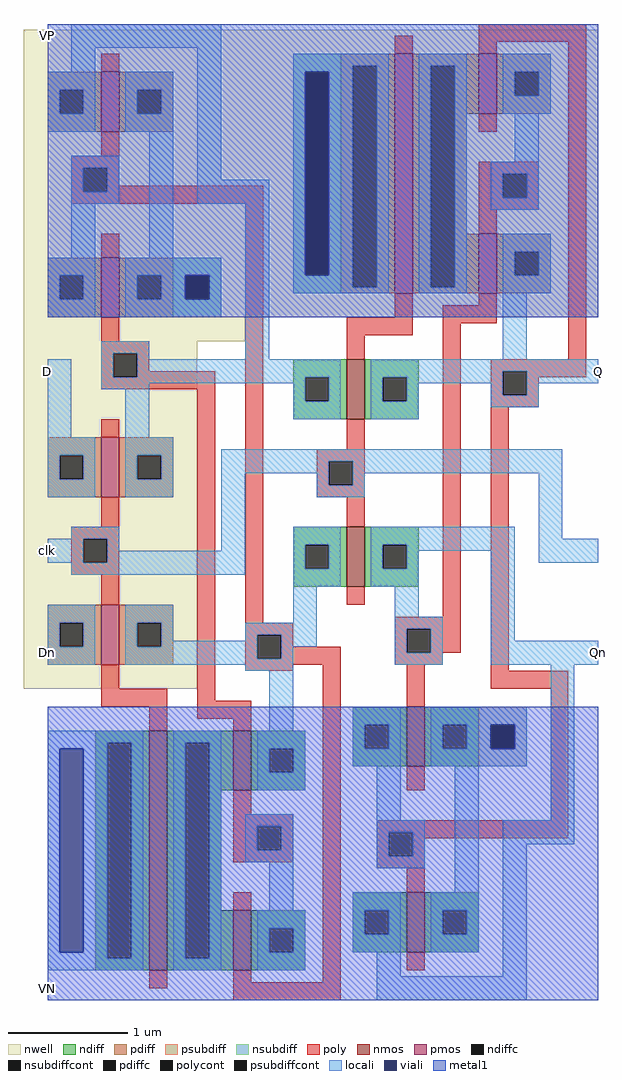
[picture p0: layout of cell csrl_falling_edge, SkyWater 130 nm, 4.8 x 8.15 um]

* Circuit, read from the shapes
.subckt csrl_falling_edge VP clk VN Q Qn D Dn
XM1 n1 clk VN VN sky130_fd_pr__nfet_01v8 w=2 l=0.15
XM2 n2 n3 n1 VN sky130_fd_pr__nfet_01v8 w=0.5 l=0.15
XM3 n3 n2 n1 VN sky130_fd_pr__nfet_01v8 w=0.5 l=0.15
XM4 Qn clk n3 VN sky130_fd_pr__nfet_01v8 w=0.5 l=0.15
XM5 Q clk n2 VN sky130_fd_pr__nfet_01v8 w=0.5 l=0.15
XM6 VN Q Qn VN sky130_fd_pr__nfet_01v8 w=0.5 l=0.15
XM7 VN Qn Q VN sky130_fd_pr__nfet_01v8 w=0.5 l=0.15
XM8 n3 clk Dn VP sky130_fd_pr__pfet_01v8 w=0.5 l=0.15
XM9 n2 clk D VP sky130_fd_pr__pfet_01v8 w=0.5 l=0.15
XM10 VP n2 n3 VP sky130_fd_pr__pfet_01v8 w=0.5 l=0.15
XM11 VP n3 n2 VP sky130_fd_pr__pfet_01v8 w=0.5 l=0.15
XM12 n4 clk VP VP sky130_fd_pr__pfet_01v8 w=2 l=0.15
XM13 Q Qn n4 VP sky130_fd_pr__pfet_01v8 w=0.5 l=0.15
XM14 Qn Q n4 VP sky130_fd_pr__pfet_01v8 w=0.5 l=0.15
.ends

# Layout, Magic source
magic
tech sky130A
<< nwell >>
rect 380 490 860 730
rect 380 470 565 490
rect 380 180 525 470
<< nmos >>
rect 650 405 665 455
rect 650 265 665 315
rect 485 -55 500 145
rect 555 95 570 145
rect 555 -55 570 -5
rect 700 115 715 165
rect 700 -40 715 10
<< pmos >>
rect 445 645 460 695
rect 445 490 460 540
rect 445 340 460 390
rect 445 200 460 250
rect 690 510 705 710
rect 760 660 775 710
rect 760 510 775 560
<< ndiff >>
rect 605 440 650 455
rect 605 420 615 440
rect 635 420 650 440
rect 605 405 650 420
rect 665 440 710 455
rect 665 420 680 440
rect 700 420 710 440
rect 665 405 710 420
rect 605 300 650 315
rect 605 280 615 300
rect 635 280 650 300
rect 605 265 650 280
rect 665 300 710 315
rect 665 280 680 300
rect 700 280 710 300
rect 665 265 710 280
rect 440 135 485 145
rect 440 -45 450 135
rect 470 -45 485 135
rect 440 -55 485 -45
rect 500 135 555 145
rect 500 -45 515 135
rect 535 95 555 135
rect 570 130 615 145
rect 570 110 585 130
rect 605 110 615 130
rect 570 95 615 110
rect 535 -5 545 95
rect 535 -45 555 -5
rect 500 -55 555 -45
rect 570 -20 615 -5
rect 570 -40 585 -20
rect 605 -40 615 -20
rect 570 -55 615 -40
rect 655 150 700 165
rect 655 130 665 150
rect 685 130 700 150
rect 655 115 700 130
rect 715 150 760 165
rect 715 130 730 150
rect 750 130 760 150
rect 715 115 760 130
rect 655 -5 700 10
rect 655 -25 665 -5
rect 685 -25 700 -5
rect 655 -40 700 -25
rect 715 -5 760 10
rect 715 -25 730 -5
rect 750 -25 760 -5
rect 715 -40 760 -25
<< pdiff >>
rect 645 700 690 710
rect 400 680 445 695
rect 400 660 410 680
rect 430 660 445 680
rect 400 645 445 660
rect 460 680 505 695
rect 460 660 475 680
rect 495 660 505 680
rect 460 645 505 660
rect 400 525 445 540
rect 400 505 410 525
rect 430 505 445 525
rect 400 490 445 505
rect 460 525 505 540
rect 460 505 475 525
rect 495 505 505 525
rect 460 490 505 505
rect 400 375 445 390
rect 400 355 410 375
rect 430 355 445 375
rect 400 340 445 355
rect 460 375 505 390
rect 460 355 475 375
rect 495 355 505 375
rect 460 340 505 355
rect 400 235 445 250
rect 400 215 410 235
rect 430 215 445 235
rect 400 200 445 215
rect 460 235 505 250
rect 460 215 475 235
rect 495 215 505 235
rect 460 200 505 215
rect 645 515 655 700
rect 675 515 690 700
rect 645 510 690 515
rect 705 700 760 710
rect 705 515 720 700
rect 740 660 760 700
rect 775 695 820 710
rect 775 675 790 695
rect 810 675 820 695
rect 775 660 820 675
rect 740 560 750 660
rect 740 515 760 560
rect 705 510 760 515
rect 775 545 820 560
rect 775 525 790 545
rect 810 525 820 545
rect 775 510 820 525
<< ndiffc >>
rect 615 420 635 440
rect 680 420 700 440
rect 615 280 635 300
rect 680 280 700 300
rect 450 -45 470 135
rect 515 -45 535 135
rect 585 110 605 130
rect 585 -40 605 -20
rect 665 130 685 150
rect 730 130 750 150
rect 665 -25 685 -5
rect 730 -25 750 -5
<< pdiffc >>
rect 410 660 430 680
rect 475 660 495 680
rect 410 505 430 525
rect 475 505 495 525
rect 410 355 430 375
rect 475 355 495 375
rect 410 215 430 235
rect 475 215 495 235
rect 655 515 675 700
rect 720 515 740 700
rect 790 675 810 695
rect 790 525 810 545
<< psubdiff >>
rect 760 150 800 165
rect 760 130 770 150
rect 790 130 800 150
rect 760 115 800 130
<< nsubdiff >>
rect 605 695 645 710
rect 505 525 545 540
rect 505 505 515 525
rect 535 505 545 525
rect 505 490 545 505
rect 605 525 615 695
rect 635 525 645 695
rect 605 510 645 525
<< psubdiffcont >>
rect 770 130 790 150
<< nsubdiffcont >>
rect 515 505 535 525
rect 615 525 635 695
<< poly >>
rect 690 710 705 725
rect 760 720 850 735
rect 760 710 775 720
rect 445 695 460 710
rect 445 625 460 645
rect 420 615 460 625
rect 420 595 430 615
rect 450 600 460 615
rect 450 595 580 600
rect 420 585 580 595
rect 445 540 460 560
rect 445 470 460 490
rect 445 460 485 470
rect 445 440 455 460
rect 475 445 485 460
rect 475 440 540 445
rect 445 430 540 440
rect 445 390 460 405
rect 445 315 460 340
rect 420 305 460 315
rect 420 285 430 305
rect 450 285 460 305
rect 420 275 460 285
rect 445 250 460 275
rect 445 180 460 200
rect 445 165 500 180
rect 485 145 500 165
rect 525 170 540 430
rect 565 235 580 585
rect 760 645 775 660
rect 760 610 810 620
rect 760 590 780 610
rect 800 590 810 610
rect 760 580 810 590
rect 760 560 775 580
rect 690 490 705 510
rect 760 500 775 510
rect 650 475 705 490
rect 730 485 775 500
rect 650 455 665 475
rect 650 380 665 405
rect 625 370 665 380
rect 625 350 635 370
rect 655 350 665 370
rect 625 340 665 350
rect 650 315 665 340
rect 650 250 665 265
rect 730 240 745 485
rect 835 455 850 720
rect 565 225 605 235
rect 565 205 575 225
rect 595 215 605 225
rect 690 230 745 240
rect 595 205 645 215
rect 565 200 645 205
rect 690 210 700 230
rect 720 210 745 230
rect 770 445 850 455
rect 770 425 780 445
rect 800 440 850 445
rect 800 425 810 440
rect 770 415 810 425
rect 690 200 730 210
rect 565 195 605 200
rect 525 155 570 170
rect 555 145 570 155
rect 555 75 570 95
rect 555 65 605 75
rect 555 45 575 65
rect 595 45 605 65
rect 555 35 605 45
rect 555 -5 570 10
rect 485 -70 500 -55
rect 555 -65 570 -55
rect 630 -65 645 200
rect 700 165 715 200
rect 770 195 785 415
rect 770 180 835 195
rect 700 95 715 115
rect 820 70 835 180
rect 675 60 835 70
rect 675 40 685 60
rect 705 55 835 60
rect 705 40 715 55
rect 675 30 715 40
rect 700 10 715 30
rect 700 -55 715 -40
rect 555 -80 645 -65
<< polycont >>
rect 430 595 450 615
rect 455 440 475 460
rect 430 285 450 305
rect 780 590 800 610
rect 635 350 655 370
rect 575 205 595 225
rect 700 210 720 230
rect 780 425 800 445
rect 575 45 595 65
rect 685 40 705 60
<< locali >>
rect 420 715 545 735
rect 420 695 440 715
rect 400 680 440 695
rect 400 660 410 680
rect 430 660 440 680
rect 400 645 440 660
rect 465 680 505 695
rect 465 660 475 680
rect 495 660 505 680
rect 465 645 505 660
rect 420 615 460 625
rect 420 595 430 615
rect 450 595 460 615
rect 420 585 460 595
rect 420 540 440 585
rect 485 540 505 645
rect 525 605 545 715
rect 605 700 685 710
rect 605 695 655 700
rect 525 585 585 605
rect 400 525 440 540
rect 400 505 410 525
rect 430 505 440 525
rect 400 490 440 505
rect 465 525 545 540
rect 465 505 475 525
rect 495 505 515 525
rect 535 505 545 525
rect 465 490 545 505
rect 445 460 485 470
rect 400 390 420 455
rect 445 440 455 460
rect 475 455 485 460
rect 565 455 585 585
rect 605 525 615 695
rect 635 525 655 695
rect 605 515 655 525
rect 675 515 685 700
rect 605 510 685 515
rect 710 700 750 710
rect 710 515 720 700
rect 740 515 750 700
rect 780 695 820 710
rect 780 675 790 695
rect 810 675 820 695
rect 780 660 820 675
rect 790 620 810 660
rect 770 610 810 620
rect 770 590 780 610
rect 800 590 810 610
rect 770 580 810 590
rect 710 510 750 515
rect 780 545 820 560
rect 780 525 790 545
rect 810 525 820 545
rect 780 510 820 525
rect 780 455 800 510
rect 475 440 645 455
rect 445 435 615 440
rect 445 430 485 435
rect 465 390 485 430
rect 605 420 615 435
rect 635 420 645 440
rect 605 405 645 420
rect 670 445 860 455
rect 670 440 780 445
rect 670 420 680 440
rect 700 435 780 440
rect 700 420 710 435
rect 670 405 710 420
rect 770 425 780 435
rect 800 435 860 445
rect 800 425 810 435
rect 770 415 810 425
rect 400 375 440 390
rect 400 355 410 375
rect 430 355 440 375
rect 400 340 440 355
rect 465 375 505 390
rect 465 355 475 375
rect 495 355 505 375
rect 465 340 505 355
rect 545 370 830 380
rect 545 360 635 370
rect 420 305 460 315
rect 400 285 430 305
rect 450 295 460 305
rect 545 295 565 360
rect 625 350 635 360
rect 655 360 830 370
rect 655 350 665 360
rect 625 340 665 350
rect 450 285 565 295
rect 420 275 565 285
rect 605 300 645 315
rect 605 280 615 300
rect 635 280 645 300
rect 605 265 645 280
rect 670 300 790 315
rect 670 280 680 300
rect 700 295 790 300
rect 700 280 710 295
rect 670 265 710 280
rect 400 235 440 250
rect 400 215 410 235
rect 430 215 440 235
rect 400 200 440 215
rect 465 235 505 250
rect 605 235 625 265
rect 465 215 475 235
rect 495 220 505 235
rect 565 225 625 235
rect 565 220 575 225
rect 495 215 575 220
rect 465 205 575 215
rect 595 215 625 225
rect 690 240 710 265
rect 690 230 730 240
rect 595 205 605 215
rect 465 200 605 205
rect 690 210 700 230
rect 720 210 730 230
rect 690 200 730 210
rect 770 220 790 295
rect 810 305 830 360
rect 810 285 860 305
rect 770 200 860 220
rect 565 195 605 200
rect 585 145 605 195
rect 655 150 695 165
rect 400 135 480 145
rect 400 130 450 135
rect 400 -40 410 130
rect 430 -40 450 130
rect 400 -45 450 -40
rect 470 -45 480 135
rect 400 -55 480 -45
rect 505 135 545 145
rect 505 -45 515 135
rect 535 -45 545 135
rect 575 130 615 145
rect 575 110 585 130
rect 605 110 615 130
rect 655 130 665 150
rect 685 130 695 150
rect 655 115 695 130
rect 720 150 800 165
rect 720 130 730 150
rect 750 130 770 150
rect 790 130 800 150
rect 720 115 800 130
rect 575 95 615 110
rect 565 65 605 75
rect 565 45 575 65
rect 595 45 605 65
rect 565 35 605 45
rect 585 -5 605 35
rect 675 70 695 115
rect 675 60 715 70
rect 675 40 685 60
rect 705 40 715 60
rect 675 30 715 40
rect 740 10 760 115
rect 820 70 840 200
rect 655 -5 695 10
rect 505 -55 545 -45
rect 575 -20 615 -5
rect 575 -40 585 -20
rect 605 -40 615 -20
rect 655 -25 665 -5
rect 685 -25 695 -5
rect 655 -40 695 -25
rect 720 -5 760 10
rect 720 -25 730 -5
rect 750 -25 760 -5
rect 720 -40 760 -25
rect 780 50 840 70
rect 575 -55 615 -40
rect 675 -60 695 -40
rect 780 -60 800 50
rect 675 -80 800 -60
<< viali >>
rect 515 505 535 525
rect 615 525 635 695
rect 410 -40 430 130
rect 770 130 790 150
<< metal1 >>
rect 400 695 860 735
rect 400 525 615 695
rect 635 525 860 695
rect 400 505 515 525
rect 535 505 860 525
rect 400 490 860 505
rect 400 150 860 165
rect 400 130 770 150
rect 790 130 860 150
rect 400 -40 410 130
rect 430 -40 860 130
rect 400 -80 860 -40
<< labels >>
rlabel locali 400 285 400 305 7 clk
port 2 w
rlabel locali 400 200 400 220 7 Dn
port 7 w
rlabel locali 400 435 400 455 7 D
port 6 w
rlabel locali 860 200 860 220 3 Qn
port 5 e
rlabel locali 860 435 860 455 3 Q
port 4 e
rlabel metal1 400 -80 400 -60 7 VN
port 3 w
rlabel metal1 400 715 400 735 7 VP
port 1 w
<< end >>
